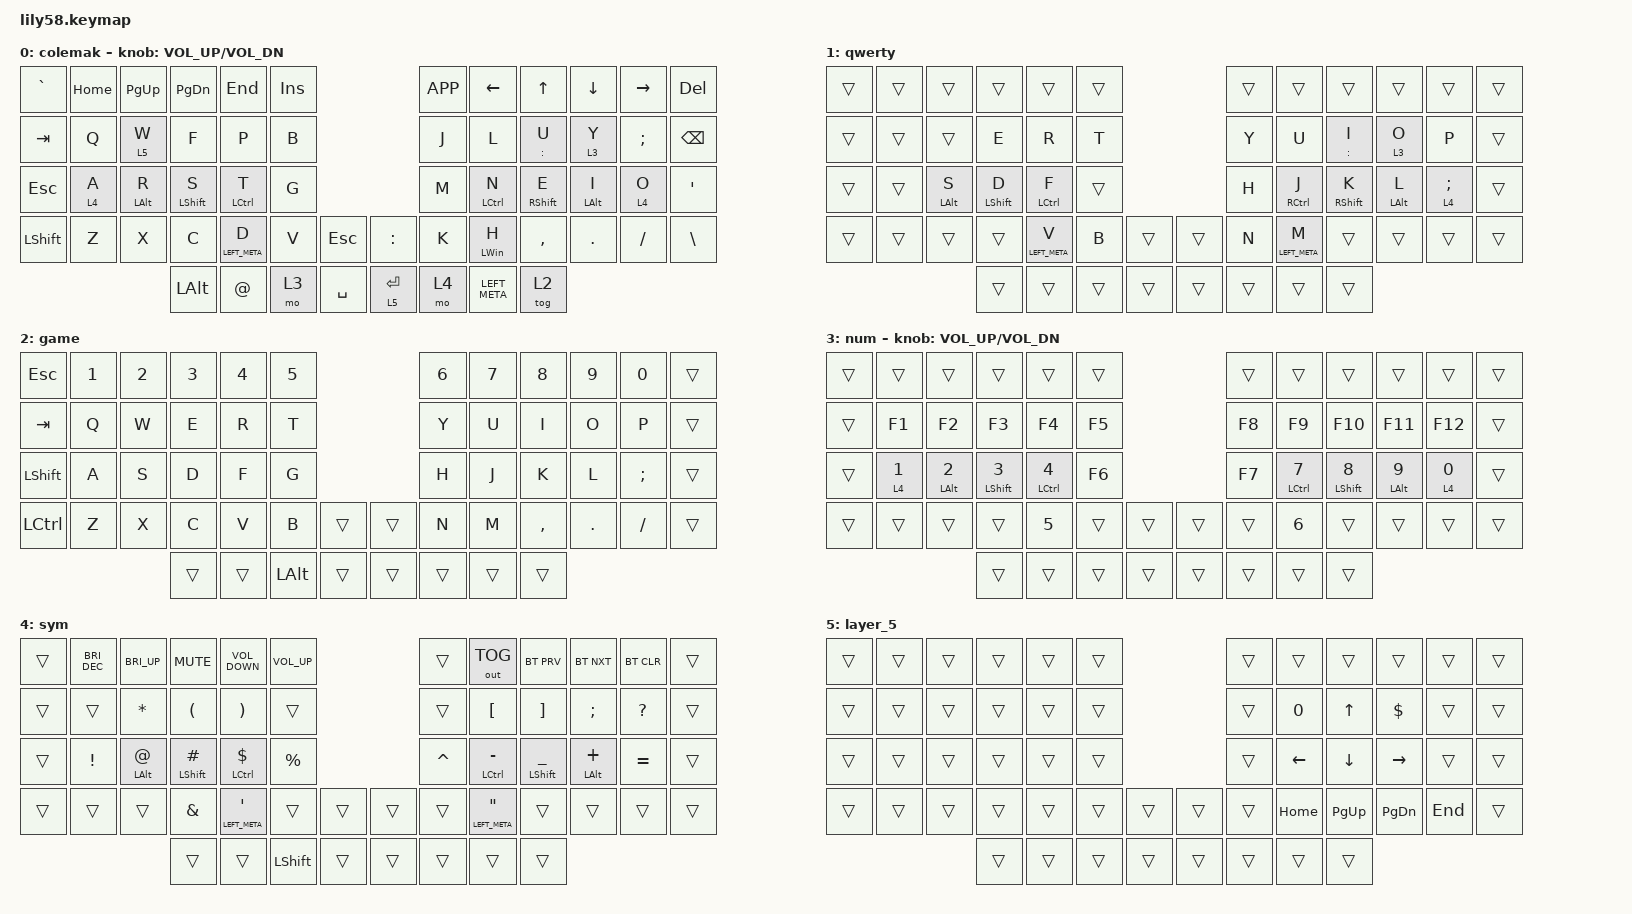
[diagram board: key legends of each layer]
/*
 * Copyright (c) 2020 The ZMK Contributors
 *
 * SPDX-License-Identifier: MIT
 */

#include <behaviors.dtsi>
#include <dt-bindings/zmk/bt.h>
#include <dt-bindings/zmk/keys.h>
#include <dt-bindings/zmk/outputs.h>

/ {
    combos {
        compatible = "zmk,combos";

        num {
            bindings = <&tog 3>;
            key-positions = <45 40>;
            require-prior-idle-ms = <200>;
        };

        space {
            bindings = <&space_base>;
            key-positions = <31 28>;
            slow-release;
            timeout-ms = <80>;
        };

        ru {
            bindings = <&rospech>;
            key-positions = <14 21>;
            layers = <0 1>;
        };

        backslash {
            bindings = <&kp BACKSLASH>;
            key-positions = <26 33>;
        };

        ru_mac {
            bindings = <&rospech_mac>;
            key-positions = <24 35>;
        };

        caps {
            bindings = <&caps_word>;
            key-positions = <15 20>;
        };

        win {
            bindings = <&kp LEFT_GUI>;
            key-positions = <55 52>;
            timeout-ms = <100>;
            slow-release;
        };

        esc {
            bindings = <&kp ESCAPE>;
            key-positions = <27 32>;
        };

        sym_mid_ind_left {
            bindings = <&mo 4>;
            key-positions = <27 28>;
            slow-release;
            layers = <0 1>;
            timeout-ms = <60>;
        };
    };

    behaviors {
        http: http {
            compatible = "zmk,behavior-hold-tap";
            label = "HTTP";
            bindings = <&kp>, <&kp>;

            #binding-cells = <2>;
            tapping-term-ms = <170>;
            flavor = "tap-preferred";
            quick-tap-ms = <200>;
        };

        htsl: htsl {
            compatible = "zmk,behavior-hold-tap";
            label = "HTSL";
            bindings = <&sl>, <&kp>;

            #binding-cells = <2>;
            tapping-term-ms = <200>;
            flavor = "tap-preferred";
            quick-tap-ms = <200>;
        };

        htsk: htsk {
            compatible = "zmk,behavior-hold-tap";
            label = "HTSK";
            bindings = <&skqr>, <&kp>;

            #binding-cells = <2>;
            tapping-term-ms = <200>;
            quick-tap-ms = <200>;
            flavor = "tap-preferred";
        };

        hthp: hthp {
            compatible = "zmk,behavior-hold-tap";
            label = "HTHP";
            bindings = <&kp>, <&kp>;

            #binding-cells = <2>;
            tapping-term-ms = <200>;
        };

        tog_off: tog_off {
            compatible = "zmk,behavior-toggle-layer";
            label = "TOG_OFF";
            #binding-cells = <1>;
            toggle-mode = "off";
        };

        skqr: skqr {
            compatible = "zmk,behavior-sticky-key";
            label = "SKQR";
            bindings = <&kp>;
            #binding-cells = <1>;
            quick-release;
            lazy;
            ignore-modifiers;
            release-after-ms = <1500>;
        };

        hidenumctrlx: hidenumctrlx {
            compatible = "zmk,behavior-hold-tap";
            label = "HIDENUMCTRLX";
            bindings = <&hidenumctrl>, <&kp>;

            #binding-cells = <2>;
            tapping-term-ms = <200>;
            quick-tap-ms = <200>;
            flavor = "tap-preferred";
        };
    };

    macros {
        rospech: russopechato {
            compatible = "zmk,behavior-macro";
            #binding-cells = <0>;
            bindings = <&kp LS(LEFT_ALT) &tog 1>;
            label = "RUSSOPECHATO";
        };

        rospech_mac: rospech_mac {
            compatible = "zmk,behavior-macro";
            #binding-cells = <0>;
            bindings = <&kp LC(SPACE) &tog 1>;
            label = "ROSPECH_MAC";
        };

        space_base: space_base {
            compatible = "zmk,behavior-macro";
            #binding-cells = <0>;
            bindings = <&macro_wait_time 0>, <&tog_off 4 &tog_off 3 &kp SPACE>;

            label = "SPACE_BASE";
        };

        base: base {
            compatible = "zmk,behavior-macro";
            #binding-cells = <0>;
            bindings = <&macro_wait_time 0>, <&tog_off 4 &tog_off 3>;

            label = "BASE";
        };

        hidenumctrl: new_macro {
            compatible = "zmk,behavior-macro";
            #binding-cells = <0>;
            bindings =
                <&macro_wait_time 0>,
                <&tog 3>,
                <&macro_press>,
                <&kp LCTRL>,
                <&macro_pause_for_release>,
                <&tog 3>,
                <&macro_release>,
                <&kp LCTRL>;

            label = "NEW_MACRO";
        };
    };

    keymap {
        compatible = "zmk,keymap";

        colemak {
            // ------------------------------------------------------------------------------------------------------------
            // |  ESC  |  1  |  2  |  3   |  4   |  5   |                   |  6   |  7    |  8    |  9   |   0   |   `   |
            // |  TAB  |  Q  |  W  |  E   |  R   |  T   |                   |  Y   |  U    |  I    |  O   |   P   |   -   |
            // |  CTRL |  A  |  S  |  D   |  F   |  G   |                   |  H   |  J    |  K    |  L   |   ;   |   '   |
            // | SHIFT |  Z  |  X  |  C   |  V   |  B   |   "["  |  |  "]"  |  N   |  M    |  ,    |  .   |   /   | SHIFT |
            //                     | ALT  | GUI  | LOWER|  SPACE |  | ENTER | RAISE| BSPC  | GUI   |

            bindings = <
&kp GRAVE   &kp HOME   &kp PAGE_UP   &kp PAGE_DOWN       &kp END            &kp INSERT                             &kp K_APP  &kp LEFT_ARROW    &kp UP_ARROW         &kp DOWN      &kp RIGHT      &kp DEL
&kp TAB     &kp Q      &htsl 5 W     &kp F               &kp P              &kp B                                  &kp J      &kp L             &http COLON U        &htsl 3 Y     &kp SEMICOLON  &kp BACKSPACE
&kp ESCAPE  &htsl 4 A  &htsk LALT R  &htsk LEFT_SHIFT S  &htsk LCTRL T      &kp G                                  &kp M      &htsk LCTRL N     &htsk RIGHT_SHIFT E  &htsk LALT I  &htsl 4 O      &kp SQT
&kp LSHIFT  &kp Z      &kp X         &kp C               &htsk LEFT_META D  &kp V       &kp ESCAPE    &kp COLON    &kp K      &htsk LEFT_WIN H  &kp COMMA            &kp PERIOD    &kp FSLH       &kp BACKSLASH
                                     &kp LEFT_ALT        &kp AT             &mo 3       &kp SPACE     &lt 5 ENTER  &mo 4      &kp LEFT_META     &tog 2
            >;

            sensor-bindings = <&inc_dec_kp C_VOL_UP C_VOL_DN>;
        };

        qwerty {
            bindings = <
&trans  &trans  &trans        &trans              &trans             &trans                    &trans  &trans             &trans               &trans            &trans             &trans
&trans  &trans  &trans        &kp E               &kp R              &kp T                     &kp Y   &kp U              &http COLON I        &htsl 3 O         &kp P              &trans
&trans  &trans  &htsk LALT S  &htsk LEFT_SHIFT D  &htsk LCTRL F      &trans                    &kp H   &htsk RCTRL J      &htsk RIGHT_SHIFT K  &htsk LEFT_ALT L  &htsl 4 SEMICOLON  &trans
&trans  &trans  &trans        &trans              &htsk LEFT_META V  &kp B   &trans    &trans  &kp N   &htsk LEFT_META M  &trans               &trans            &trans             &trans
                              &trans              &trans             &trans  &trans    &trans  &trans  &trans             &trans
            >;
        };

        game {
            bindings = <
&kp ESC    &kp N1  &kp N2  &kp N3  &kp N4  &kp N5                          &kp N6  &kp N7  &kp N8     &kp N9   &kp N0    &trans
&kp TAB    &kp Q   &kp W   &kp E   &kp R   &kp T                           &kp Y   &kp U   &kp I      &kp O    &kp P     &trans
&kp LSHFT  &kp A   &kp S   &kp D   &kp F   &kp G                           &kp H   &kp J   &kp K      &kp L    &kp SEMI  &trans
&kp LCTRL  &kp Z   &kp X   &kp C   &kp V   &kp B         &trans    &trans  &kp N   &kp M   &kp COMMA  &kp DOT  &kp FSLH  &trans
                           &trans  &trans  &kp LEFT_ALT  &trans    &trans  &trans  &trans  &trans
            >;
        };

        num {
            bindings = <
&trans  &trans            &trans               &trans                     &trans                &trans                    &trans  &trans                &trans                     &trans               &trans      &trans
&trans  &kp F1            &kp F2               &kp F3                     &kp F4                &kp F5                    &kp F8  &kp F9                &kp F10                    &kp F11              &kp F12     &trans
&trans  &htsl 4 NUMBER_1  &htsk LALT NUMBER_2  &htsk LEFT_SHIFT NUMBER_3  &htsk LCTRL NUMBER_4  &kp F6                    &kp F7  &htsk LCTRL NUMBER_7  &htsk LEFT_SHIFT NUMBER_8  &htsk LALT NUMBER_9  &htsl 4 N0  &trans
&trans  &trans            &trans               &trans                     &kp N5                &trans  &trans    &trans  &trans  &kp NUMBER_6          &trans                     &trans               &trans      &trans
                                               &trans                     &trans                &trans  &trans    &trans  &trans  &trans                &trans
            >;

            sensor-bindings = <&inc_dec_kp C_VOL_UP C_VOL_DN>;
        };

        sym {
            bindings = <
&trans  &kp C_BRI_DEC  &kp C_BRI_UP       &kp C_MUTE              &kp C_VOLUME_DOWN      &kp C_VOLUME_UP                    &trans     &out OUT_TOG                   &bt BT_PRV              &bt BT_NXT           &bt BT_CLR    &trans
&trans  &trans         &kp ASTRK          &kp LEFT_PARENTHESIS    &kp RIGHT_PARENTHESIS  &trans                             &trans     &kp LEFT_BRACKET               &kp RIGHT_BRACKET       &kp SEMI             &kp QUESTION  &trans
&trans  &kp EXCL       &htsk LEFT_ALT AT  &htsk LEFT_SHIFT POUND  &htsk LCTRL DOLLAR     &kp PERCENT                        &kp CARET  &htsk LCTRL MINUS              &htsk LEFT_SHIFT UNDER  &htsk LEFT_ALT PLUS  &kp EQUAL     &trans
&trans  &trans         &trans             &kp AMPS                &htsk LEFT_META APOS   &trans           &trans    &trans  &trans     &htsk LEFT_META DOUBLE_QUOTES  &trans                  &trans               &trans        &trans
                                          &trans                  &trans                 &kp LEFT_SHIFT   &trans    &trans  &trans     &trans                         &trans
            >;
        };

        layer_5 {
            bindings = <
&trans  &trans  &trans  &trans  &trans  &trans                    &trans  &trans    &trans        &trans      &trans   &trans
&trans  &trans  &trans  &trans  &trans  &trans                    &trans  &kp N0    &kp UP_ARROW  &kp DOLLAR  &trans   &trans
&trans  &trans  &trans  &trans  &trans  &trans                    &trans  &kp LEFT  &kp DOWN      &kp RIGHT   &trans   &trans
&trans  &trans  &trans  &trans  &trans  &trans  &trans    &trans  &trans  &kp HOME  &kp PG_UP     &kp PG_DN   &kp END  &trans
                        &trans  &trans  &trans  &trans    &trans  &trans  &trans    &trans
            >;
        };
    };

    conditional_layers { compatible = "zmk,conditional-layers"; };
};
